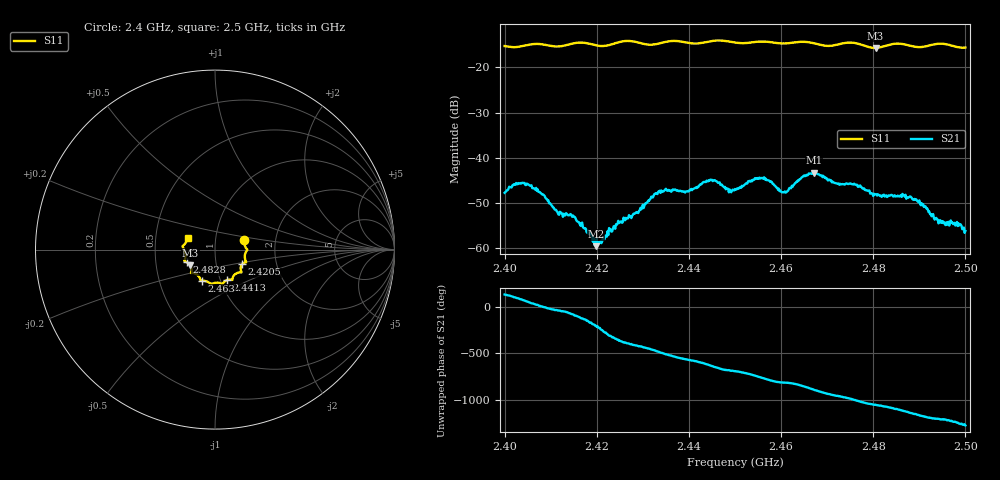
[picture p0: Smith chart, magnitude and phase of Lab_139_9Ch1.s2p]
# Hz S RI R 50
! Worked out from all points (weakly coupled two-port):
!   601 points, 2.4 GHz to 2.5 GHz, reference 50 ohm
!   highest |S21| = -43.30 dB at 2.4672 GHz (marker M1); lowest = -59.5 dB at 2.4198 GHz (marker M2)
!   lowest |S11| = -15.7 dB at 2.4805 GHz (marker M3), VSWR 1.39, Z = 37.3 - j6.68 ohm
!   |S11| at or under -10 dB: start of sweep to end of sweep
!   S12 and S22 are empty: the file has one direction only
!   S11 on the Smith chart (normalised r, x): 2.4 GHz: 1.38, +0.15; 2.4205 GHz: 1.34, -0.22; 2.4413 GHz: 1.08, -0.38; 2.463 GHz: 0.82, -0.29; 2.4828 GHz: 0.72, -0.10; 2.5 GHz: 0.73, +0.10
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2.4e9  0.163 0.0526  -0.00296 0.00286  0 0  0 0
2.4025e9  0.1654 0.0237  -0.000987 0.00519  0 0  0 0
2.405333e9  0.1776 0.0027  0.00306 0.00397  0 0  0 0
2.411333e9  0.1668 -0.0286  0.00219 -0.00134  0 0  0 0
2.416667e9  0.1735 -0.0698  -0.00101 -0.00162  0 0  0 0
2.419833e9  0.1565 -0.0768  -0.000986 0.00039  0 0  0 0
2.4205e9  0.152 -0.0808  -0.00082 0.000823  0 0  0 0
2.433333e9  0.1004 -0.1516  -0.00224 -0.00359  0 0  0 0
2.441333e9  0.0676 -0.1696  -0.00333 0.00322  0 0  0 0
2.445167e9  0.0432 -0.1904  0.000914 0.00545  0 0  0 0
2.45e9  0.0248 -0.1856  0.004 0.00214  0 0  0 0
2.454833e9  -0.0155 -0.1902  0.00512 -0.00287  0 0  0 0
2.4605e9  -0.0509 -0.1758  -0.000493 -0.00413  0 0  0 0
2.463e9  -0.072 -0.1735  -0.00176 -0.00493  0 0  0 0
2.466667e9  -0.0815 -0.1674  -0.00644 -0.00168  0 0  0 0
2.467167e9  -0.0823 -0.1641  -0.0068 -0.000737  0 0  0 0
2.4805e9  -0.1383 -0.0871  0.0036 0.00165  0 0  0 0
2.482833e9  -0.1585 -0.0702  0.00384 0.000317  0 0  0 0
2.483333e9  -0.1623 -0.0682  0.00385 -0.00012  0 0  0 0
2.4895e9  -0.1644 -0.0289  0.000419 -0.00334  0 0  0 0
2.493667e9  -0.1799 0.0134  -0.0013 -0.00174  0 0  0 0
2.5e9  -0.1521 0.064  -0.00147 0.000511  0 0  0 0
